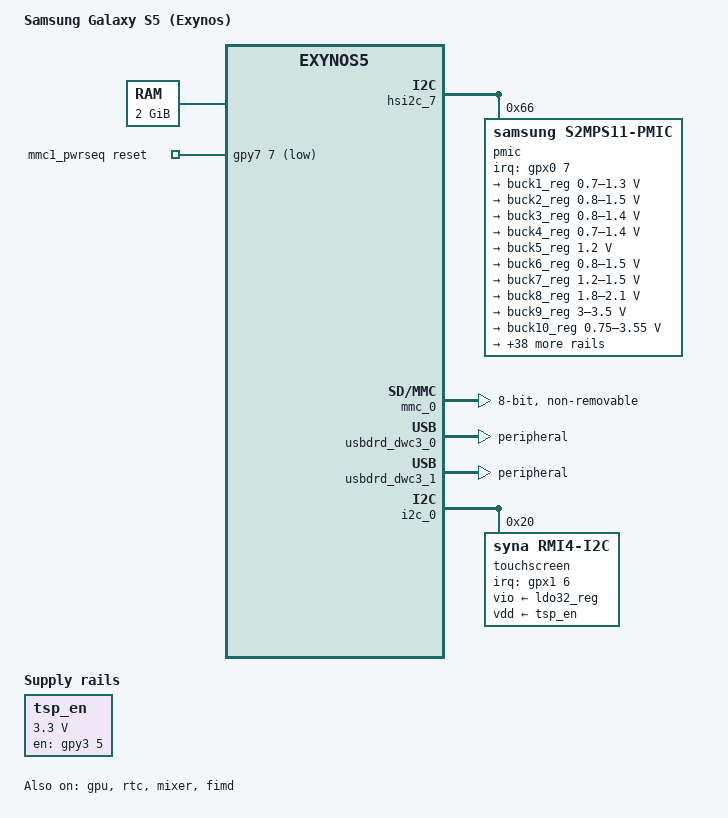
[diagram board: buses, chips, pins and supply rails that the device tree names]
// SPDX-License-Identifier: GPL-2.0
/*
 * Samsung Galaxy S5 (Exynos) device-tree source
 *
 * Copyright (c) 2023 Markuss Broks
 */

/dts-v1/;
#include <dt-bindings/clock/samsung,s2mps11.h>
#include <dt-bindings/interrupt-controller/irq.h>
#include <dt-bindings/gpio/gpio.h>
#include "exynos5800.dtsi"
#include "exynos5422-cpus.dtsi"

/ {
	model = "Samsung Galaxy S5 (Exynos)";
	compatible = "samsung,k3g", "samsung,exynos5800", \
			 "samsung,exynos5";

	chassis-type = "handset";

	memory@20000000 {
		device_type = "memory";
		reg = <0x20000000 0x80000000>;
	};

	reserved-memory {
		#address-cells = <1>;
		#size-cells = <1>;
		ranges;

		ramoops@b6800000 {
			compatible = "ramoops";
			reg = <0xb6800000 0x100000>;
			record-size = <0x4000>;
			console-size = <0x4000>;
		};
	};

	fixed-rate-clocks {
		oscclk {
			compatible = "samsung,exynos5420-oscclk";
			clock-frequency = <24000000>;
		};
	};

	firmware@2073000 {
		compatible = "samsung,secure-firmware";
		reg = <0x02073000 0x1000>;
	};

	mmc1_pwrseq: mmc1-pwrseq {
		compatible = "mmc-pwrseq-simple";
		reset-gpios = <&gpy7 7 GPIO_ACTIVE_LOW>; /* WIFI_EN */
		clocks = <&s2mps11_osc S2MPS11_CLK_BT>;
		clock-names = "ext_clock";
	};

	tsp_en: tsp_avdd_en {
		compatible = "regulator-fixed";
		regulator-name = "tsp_avdd_en";
		regulator-min-microvolt = <3300000>;
		regulator-max-microvolt = <3300000>;
		gpio = <&gpy3 5 0>;
		enable-active-high;
	};

};

&cpu0 {
	cpu-supply = <&buck2_reg>;
};

&cpu4 {
	cpu-supply = <&buck6_reg>;
};

&gpu {
	status = "okay";
	mali-supply = <&buck4_reg>;
};

&hsi2c_7 {
	status = "okay";

	pmic@66 {
		compatible = "samsung,s2mps11-pmic";
		reg = <0x66>;

		interrupt-parent = <&gpx0>;
		interrupts = <7 IRQ_TYPE_LEVEL_LOW>;
		pinctrl-names = "default";
		pinctrl-0 = <&s2mps11_irq>;
		wakeup-source;

		s2mps11_osc: clocks {
			compatible = "samsung,s2mps11-clk";
			#clock-cells = <1>;
			clock-output-names = "s2mps11_ap",
					"s2mps11_cp", "s2mps11_bt";
		};

		regulators {
			buck1_reg: BUCK1 {
				regulator-name = "VDD_MIF_1V1";
				regulator-min-microvolt = <700000>;
				regulator-max-microvolt = <1300000>;
				regulator-always-on;
				regulator-boot-on;

				regulator-state-mem {
					regulator-off-in-suspend;
				};
			};

			buck2_reg: BUCK2 {
				regulator-name = "VDD_ARM_1V0";
				regulator-min-microvolt = <800000>;
				regulator-max-microvolt = <1500000>;
				regulator-always-on;
				regulator-boot-on;

				regulator-state-mem {
					regulator-off-in-suspend;
				};
			};

			buck3_reg: BUCK3 {
				regulator-name = "VDD_INT_1V0";
				regulator-min-microvolt = <800000>;
				regulator-max-microvolt = <1400000>;
				regulator-always-on;
				regulator-boot-on;

				regulator-state-mem {
					regulator-off-in-suspend;
				};
			};

			buck4_reg: BUCK4 {
				regulator-name = "VDD_G3D_1V0";
				regulator-min-microvolt = <700000>;
				regulator-max-microvolt = <1400000>;
				regulator-always-on;
				regulator-boot-on;

				regulator-state-mem {
					regulator-off-in-suspend;
				};
			};

			buck5_reg: BUCK5 {
				regulator-name = "VDD_MEM_1V2";
				regulator-min-microvolt = <1200000>;
				regulator-max-microvolt = <1200000>;
				regulator-always-on;
				regulator-boot-on;

				regulator-state-mem {
					regulator-off-in-suspend;
				};

			};

			buck6_reg: BUCK6 {
				regulator-name = "VDD_KFC_1V0";
				regulator-min-microvolt = <800000>;
				regulator-max-microvolt = <1500000>;
				regulator-always-on;
				regulator-boot-on;

				regulator-state-mem {
					regulator-off-in-suspend;
				};
			};

			buck7_reg: BUCK7 {
				regulator-name = "VIN_LLDO_1V4";
				regulator-min-microvolt = <1200000>;
				regulator-max-microvolt = <1500000>;
				regulator-always-on;
			};

			buck8_reg: BUCK8 {
				regulator-name = "VIN_MLDO_2V0";
				regulator-min-microvolt = <1800000>;
				regulator-max-microvolt = <2100000>;
				regulator-always-on;
			};

			buck9_reg: BUCK9 {
				regulator-name = "VIN_HLDO_3V5";
				regulator-min-microvolt = <3000000>;
				regulator-max-microvolt = <3500000>;
				regulator-always-on;
			};

			buck10_reg: BUCK10 {
				regulator-name = "VDD_CAM_ISP_1V0";
				regulator-min-microvolt = <750000>;
				regulator-max-microvolt = <3550000>;
			};

			ldo1_reg: LDO1 {
				regulator-name = "VDD_ALIVE_1.0V";
				regulator-min-microvolt = <1000000>;
				regulator-max-microvolt = <1000000>;
				regulator-always-on;
			};

			ldo2_reg: LDO2 {
				regulator-name = "VDD_APIO_1V8";
				regulator-min-microvolt = <1800000>;
				regulator-max-microvolt = <1800000>;
				regulator-always-on;
				regulator-boot-on;

				regulator-state-mem {
					regulator-on-in-suspend;
				};
			};

			ldo3_reg: LDO3 {
				regulator-name = "VDD_APIO_MMC01_1V8";
				regulator-min-microvolt = <1800000>;
				regulator-max-microvolt = <1800000>;
				regulator-always-on;

				regulator-state-mem {
					regulator-off-in-suspend;
				};
			};

			ldo4_reg: LDO4 {
				regulator-name = "VDD_ADC_1V8";
				regulator-min-microvolt = <1800000>;
				regulator-max-microvolt = <1800000>;
				regulator-always-on;
				regulator-boot-on;

				regulator-state-mem {
					regulator-on-in-suspend;
				};
			};

			ldo5_reg: LDO5 {
				regulator-name = "HRM_1P8_AP";
				regulator-min-microvolt = <1800000>;
				regulator-max-microvolt = <1800000>;
			};

			ldo6_reg: LDO6 {
				regulator-name = "VDD_MIPI_1V0";
				regulator-min-microvolt = <1000000>;
				regulator-max-microvolt = <1000000>;
				regulator-always-on;
				regulator-boot-on;

				regulator-state-mem {
					regulator-off-in-suspend;
				};
			};

			ldo7_reg: LDO7 {
				regulator-name = "VDD_MIPI_PLL_ABB1_1V8";
				regulator-min-microvolt = <1800000>;
				regulator-max-microvolt = <1800000>;
				regulator-always-on;
				regulator-boot-on;

				regulator-state-mem {
					regulator-off-in-suspend;
				};
			};

			ldo8_reg: LDO8 {
				regulator-name = "VDD_VTF_1V8";
				regulator-min-microvolt = <1800000>;
				regulator-max-microvolt = <1800000>;
				regulator-always-on;

				regulator-state-mem {
					regulator-on-in-suspend;
				};
			};

			ldo9_reg: LDO9 {
				regulator-name = "VDD_UOTG_3V0";
				regulator-min-microvolt = <3000000>;
				regulator-max-microvolt = <3000000>;
				regulator-always-on;
				regulator-boot-on;

				regulator-state-mem {
					regulator-on-in-suspend;
				};
			};

			ldo10_reg: LDO10 {
				regulator-name = "VDDQ_PRE_1V8";
				regulator-min-microvolt = <1800000>;
				regulator-max-microvolt = <1800000>;
				regulator-always-on;
				regulator-boot-on;

				regulator-state-mem {
					regulator-on-in-suspend;
				};
			};

			ldo11_reg: LDO11 {
				regulator-name = "VDD_HSIC_1V0";
				regulator-min-microvolt = <1000000>;
				regulator-max-microvolt = <1000000>;
				regulator-always-on;
				regulator-boot-on;

				regulator-state-mem {
					regulator-on-in-suspend;
				};
			};

			ldo12_reg: LDO12 {
				regulator-name = "VDD_HSIC_1V8";
				regulator-min-microvolt = <1800000>;
				regulator-max-microvolt = <1800000>;
				regulator-always-on;
				regulator-boot-on;

				regulator-state-mem {
					regulator-on-in-suspend;
				};
			};

			ldo13_reg: LDO13 {
				regulator-name = "VDD_APIO_MMC2_2V8";
				regulator-min-microvolt = <1800000>;
				regulator-max-microvolt = <2800000>;
				regulator-boot-on;

				regulator-state-mem {
					regulator-off-in-suspend;
				};
			};

			ldo14_reg: LDO14 {
				regulator-name = "VDD_MOTOR_3V0";
				regulator-min-microvolt = <3000000>;
				regulator-max-microvolt = <3000000>;

				regulator-state-mem {
					regulator-off-in-suspend;
				};
			};

			ldo15_reg: LDO15 {
				regulator-name = "VDD_CAM1_CAM_2V8";
				regulator-min-microvolt = <2800000>;
				regulator-max-microvolt = <2800000>;

				regulator-state-mem {
					regulator-off-in-suspend;
				};
			};

			ldo16_reg: LDO16 {
				regulator-name = "VDD_AP_2V8";
				regulator-min-microvolt = <2800000>;
				regulator-max-microvolt = <2800000>;
				regulator-always-on;
				regulator-boot-on;

				regulator-state-mem {
					regulator-on-in-suspend;
				};
			};

			ldo17_reg: LDO17 {
				/* Unused */
				regulator-name = "VDD_LDO17";
			};

			ldo18_reg: LDO18 {
				regulator-name = "VDD_CODEC_1V8";
				regulator-min-microvolt = <1800000>;
				regulator-max-microvolt = <1800000>;
				regulator-always-on;

				regulator-state-mem {
					regulator-on-in-suspend;
				};
			};

			ldo19_reg: LDO19 {
				regulator-name = "VDD_VMMC_2V8";
				regulator-min-microvolt = <2800000>;
				regulator-max-microvolt = <2800000>;

				regulator-state-mem {
					regulator-on-in-suspend;
				};
			};

			ldo20_reg: LDO20 {
				regulator-name = "VDD_CAM1_CAM_1V8";
				regulator-min-microvolt = <1800000>;
				regulator-max-microvolt = <1800000>;

				regulator-state-mem {
					regulator-off-in-suspend;
				};
			};

			ldo21_reg: LDO21 {
				regulator-name = "VDD_CAM_IO_1V8";
				regulator-min-microvolt = <1800000>;
				regulator-max-microvolt = <1800000>;

				regulator-state-mem {
					regulator-off-in-suspend;
				};
			};

			ldo22_reg: LDO22 {
				regulator-name = "VDD_CAM0_S_CORE_1V2";
				regulator-min-microvolt = <1200000>;
				regulator-max-microvolt = <1200000>;

				regulator-state-mem {
					regulator-off-in-suspend;
				};
			};

			ldo23_reg: LDO23 {
				regulator-name = "VDD_MIFS_1V1";
				regulator-min-microvolt = <800000>;
				regulator-max-microvolt = <1100000>;
				regulator-always-on;

				regulator-state-mem {
					regulator-on-in-suspend;
				};
			};

			ldo24_reg: LDO24 {
				regulator-name = "VDD_MHL_3V3";
				regulator-min-microvolt = <3300000>;
				regulator-max-microvolt = <3300000>;

				regulator-state-mem {
					regulator-off-in-suspend;
				};
			};

			ldo25_reg: LDO25 {
				regulator-name = "VDD_LCD_1V8";
				regulator-min-microvolt = <1800000>;
				regulator-max-microvolt = <1800000>;

				regulator-state-mem {
					regulator-off-in-suspend;
				};
			};

			ldo26_reg: LDO26 {
				regulator-name = "VDD_CAM0_AF_2V8";
				regulator-min-microvolt = <2800000>;
				regulator-max-microvolt = <2800000>;

				regulator-state-mem {
					regulator-off-in-suspend;
				};
			};

			ldo27_reg: LDO27 {
				regulator-name = "VDD_G3DS_1V0";
				regulator-min-microvolt = <800000>;
				regulator-max-microvolt = <1100000>;
				regulator-always-on;

				regulator-state-mem {
					regulator-on-in-suspend;
				};
			};

			ldo28_reg: LDO28 {
				regulator-name = "VDD_LCD_3V0";
				regulator-min-microvolt = <3000000>;
				regulator-max-microvolt = <3000000>;

				regulator-state-mem {
					regulator-off-in-suspend;
				};
			};

			ldo29_reg: LDO29 {
				/* Unused */
				regulator-name = "VDD_LDO29";
			};

			ldo30_reg: LDO30 {
				regulator-name = "VDD_TOUCH_1V8";
				regulator-min-microvolt = <1800000>;
				regulator-max-microvolt = <1800000>;

				regulator-state-mem {
					regulator-off-in-suspend;
				};
			};

			ldo31_reg: LDO31 {
				regulator-name = "VDD_COMP_1V8";
				regulator-min-microvolt = <1800000>;
				regulator-max-microvolt = <1800000>;

				regulator-state-mem {
					regulator-off-in-suspend;
				};
			};

			ldo32_reg: LDO32 {
				regulator-name = "VDD_TOUCH_IO_1V8";
				regulator-min-microvolt = <1800000>;
				regulator-max-microvolt = <1800000>;

				regulator-state-mem {
					regulator-off-in-suspend;
				};
			};

			ldo33_reg: LDO33 {
				regulator-name = "VDD_MHL_1V8";
				regulator-min-microvolt = <1800000>;
				regulator-max-microvolt = <1800000>;

				regulator-state-mem {
					regulator-off-in-suspend;
				};
			};

			ldo34_reg: LDO34 {
				regulator-name = "VDD_HRM_3V3";
				regulator-min-microvolt = <3300000>;
				regulator-max-microvolt = <3300000>;

				regulator-state-mem {
					regulator-off-in-suspend;
				};
			};

			ldo35_reg: LDO35 {
				regulator-name = "VDD_SIL_1V2";
				regulator-min-microvolt = <1200000>;
				regulator-max-microvolt = <1200000>;

				regulator-state-mem {
					regulator-off-in-suspend;
				};
			};

			ldo36_reg: LDO36 {
				/* Unused */
				regulator-name = "VDD_LDO36";
				regulator-min-microvolt = <800000>;
				regulator-max-microvolt = <3950000>;
			};

			ldo37_reg: LDO37 {
				/* Unused */
				regulator-name = "VDD_LDO37";
				regulator-min-microvolt = <800000>;
				regulator-max-microvolt = <3950000>;
			};

			ldo38_reg: LDO38 {
				regulator-name = "VDD_KEY_LED_3V3";
				regulator-min-microvolt = <3300000>;
				regulator-max-microvolt = <3300000>;

				regulator-state-mem {
					regulator-off-in-suspend;
				};
			};
		};
	};
};

/* eMMC flash */
&mmc_0 {
	status = "okay";
	mmc-hs200-1_8v;
	cap-mmc-highspeed;
	non-removable;
	clock-frequency = <400000000>;
	samsung,dw-mshc-ciu-div = <3>;
	samsung,dw-mshc-sdr-timing = <0 4>;
	samsung,dw-mshc-ddr-timing = <0 2>;
	samsung,dw-mshc-hs400-timing = <0 2>;
	samsung,read-strobe-delay = <90>;
	pinctrl-names = "default";
	pinctrl-0 = <&sd0_clk &sd0_cmd &sd0_bus1 &sd0_bus4 &sd0_bus8 &sd0_rclk>;
	bus-width = <8>;
};

/* WiFi SDIO module */
&mmc_1 {
	status = "disabled";
	non-removable;
	cap-sdio-irq;
	keep-power-in-suspend;
	clock-frequency = <400000000>;
	samsung,dw-mshc-ciu-div = <3>;
	samsung,dw-mshc-sdr-timing = <2 3>;
	samsung,dw-mshc-ddr-timing = <1 2>;
	pinctrl-names = "default";
	pinctrl-0 = <&sd1_clk>, <&sd1_cmd>, <&sd1_int>, <&sd1_bus1>,
			<&sd1_bus4>, <&sd1_bus8>, <&wifi_en>;
	bus-width = <4>;
	cap-sd-highspeed;
	vqmmc-supply = <&buck10_reg>;
	mmc-pwrseq = <&mmc1_pwrseq>;

	wifi@1 {
		compatible = "brcm,bcm4354-fmac", "brcm,bcm4329-fmac";
		reg = <1>;
		interrupt-parent = <&gpx2>;
		interrupts = <0 IRQ_TYPE_EDGE_RISING>;
		interrupt-names = "host-wake";
		pinctrl-names = "default";
		pinctrl-0 = <&wlan_default_mode>;
	};

};

/* uSD card */
&mmc_2 {
	status = "okay";
	cap-sd-highspeed;
	card-detect-delay = <200>;
	clock-frequency = <400000000>;
	samsung,dw-mshc-ciu-div = <3>;
	samsung,dw-mshc-sdr-timing = <2 3>;
	samsung,dw-mshc-ddr-timing = <1 2>;
	pinctrl-names = "default";
	pinctrl-0 = <&sd2_clk &sd2_cmd &sd2_cd &sd2_bus1 &sd2_bus4>;
	bus-width = <4>;

	status = "disabled";
};

&pinctrl_0 {
	wifi_en: wifi-en-pins {
		samsung,pins = "gpy7-7";
		samsung,pin-function = <EXYNOS_PIN_FUNC_OUTPUT>;
		samsung,pin-pud = <EXYNOS_PIN_PULL_NONE>;
		samsung,pin-drv = <EXYNOS5420_PIN_DRV_LV4>;
	};

	lcd_rst: lcd-reset {
		samsung,pins = "gpy7-4";
		samsung,pin-function = <EXYNOS_PIN_FUNC_OUTPUT>;
		samsung,pin-pud = <EXYNOS_PIN_PULL_NONE>;
	};

	mmc2_cd: mmc2-cd-pins {
		samsung,pins = "gpx2-4";
		samsung,pin-pud = <EXYNOS_PIN_PULL_NONE>;
	};

	touch_pin: touch-int-pin {
		samsung,pins = "gpx1-6";
		samsung,pin-pud = <EXYNOS_PIN_PULL_DOWN>;
	};

	wlan_default_mode: wlan-default-mode {
		samsung,pins = "gpx2-0";
		samsung,pin-pud = <EXYNOS_PIN_PULL_DOWN>;
	};

	s2mps11_irq: s2mps11-irq-pins {
		samsung,pins = "gpx0-7";
		samsung,pin-function = <EXYNOS_PIN_FUNC_F>;
		samsung,pin-pud = <EXYNOS_PIN_PULL_NONE>;
		samsung,pin-drv = <EXYNOS5420_PIN_DRV_LV1>;
	};
};

&pinctrl_1 {
	te_irq: te-irq-pins {
		samsung,pins = "gpd1-7";
		samsung,pin-function = <EXYNOS_PIN_FUNC_F>;
	};
};

&rtc {
	status = "okay";
	clocks = <&clock CLK_RTC>, <&s2mps11_osc S2MPS11_CLK_AP>;
	clock-names = "rtc", "rtc_src";
};

&tmu_cpu0 {
	vtmu-supply = <&ldo10_reg>;
};

&tmu_cpu1 {
	vtmu-supply = <&ldo10_reg>;
};

&tmu_cpu2 {
	vtmu-supply = <&ldo10_reg>;
};

&tmu_cpu3 {
	vtmu-supply = <&ldo10_reg>;
};

&tmu_gpu {
	vtmu-supply = <&ldo10_reg>;
};

&usbdrd_dwc3_0 {
	dr_mode = "peripheral";
};

&usbdrd_dwc3_1 {
	dr_mode = "peripheral";
};

&usbdrd3_0 {
	vdd33-supply = <&ldo9_reg>;
	vdd10-supply = <&ldo11_reg>;
};

&usbdrd3_1 {
	vdd33-supply = <&ldo9_reg>;
	vdd10-supply = <&ldo11_reg>;
};

&timer {
	arm,cpu-registers-not-fw-configured;
};

&mixer {
	status = "okay";
};

&fimd {
	status = "okay";
	samsung,invert-vclk;
};

&dsi {
	status = "disabled";

	samsung,pll-clock-frequency = <24000000>;
	samsung,burst-clock-frequency = <512000000>;
	samsung,esc-clock-frequency = <19000000>;

	vddcore-supply = <&ldo8_reg>;
	vddio-supply = <&ldo10_reg>;

	pinctrl-names = "default";
	pinctrl-0 = <&te_irq>;

	te-gpio = <&gpd1 7 GPIO_ACTIVE_HIGH>;

	panel@0 {
		reg = <0>;
		compatible = "samsung,s6e3fa2";

		reset-gpios = <&gpy7 4 GPIO_ACTIVE_LOW>;

		iovdd-supply = <&ldo25_reg>;
		vddr-supply= <&ldo28_reg>;
		pinctrl-names = "default";
		pinctrl-0 = <&lcd_rst>;
	};
};


&i2c_0 {
	status = "okay";

	touchscreen@20 {
		compatible = "syna,rmi4-i2c";
		reg = <0x20>;
		pinctrl-0 = <&touch_pin>;
		pinctrl-names = "default";
		interrupt-parent = <&gpx1>;
		interrupts = <6 IRQ_TYPE_EDGE_FALLING>;
		vio-supply = <&ldo32_reg>;
		vdd-supply = <&tsp_en>;
		syna,startup-delay-ms = <100>;


		#address-cells = <1>;
		#size-cells = <0>;
		rmi4-f01@1 {
			reg = <0x1>;
			syna,nosleep-mode = <1>;
		};

		rmi4-f12@12 {
			reg = <0x12>;
			syna,sensor-type = <1>;
		};
	};

};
